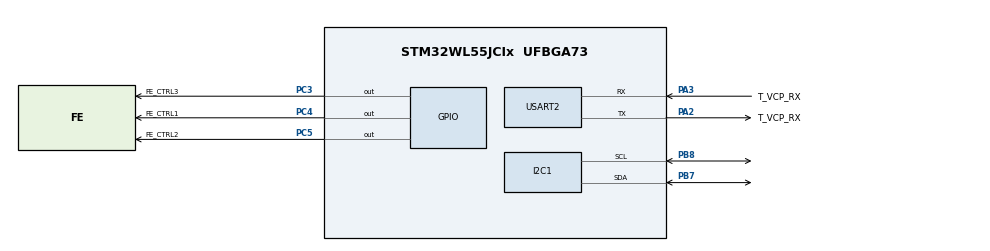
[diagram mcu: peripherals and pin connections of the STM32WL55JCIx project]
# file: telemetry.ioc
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I2C1.Timing=0x00100D14
Mcu.Family=STM32WL
Mcu.Name=STM32WL55JCIx
Mcu.Package=UFBGA73
NUCLEO-WL55JC1.BUTTON=1
NUCLEO-WL55JC1.BUTTON2=1
NUCLEO-WL55JC1.BUTTON3=1
NUCLEO-WL55JC1.LD1=true
NUCLEO-WL55JC1.LD2=true
NUCLEO-WL55JC1.LD3=true
NVIC.I2C1_ER_IRQn=true\:0\:0\:false\:false\:true\:true\:true\:true
NVIC.I2C1_EV_IRQn=true\:0\:0\:false\:false\:true\:true\:true\:true
NVIC.PriorityGroup=NVIC_PRIORITYGROUP_4
NVIC.SUBGHZ_Radio_IRQn=true\:0\:0\:false\:false\:true\:true\:true\:true
PA2.GPIO_Label=T_VCP_RX
PA2.Mode=Asynchronous
PA2.Signal=USART2_TX
PA3.GPIO_Label=T_VCP_RX
PA3.Mode=Asynchronous
PA3.Signal=USART2_RX
PB7.Mode=I2C
PB7.Signal=I2C1_SDA
PB8.Mode=I2C
PB8.Signal=I2C1_SCL
PC14-OSC32_IN.GPIO_Label=RCC_OSC32_IN
PC14-OSC32_IN.Signal=RCC_OSC32_IN
PC15-OSC32_OUT.GPIO_Label=RCC_OSC32_OUT
PC15-OSC32_OUT.Signal=RCC_OSC32_OUT
PC3.GPIO_Label=FE_CTRL3
PC3.GPIO_Speed=GPIO_SPEED_FREQ_VERY_HIGH
PC3.Signal=GPIO_Output
PC4.GPIO_Label=FE_CTRL1
PC4.GPIO_Speed=GPIO_SPEED_FREQ_VERY_HIGH
PC4.Signal=GPIO_Output
PC5.GPIO_Label=FE_CTRL2
PC5.GPIO_Speed=GPIO_SPEED_FREQ_VERY_HIGH
PC5.Signal=GPIO_Output
ProjectManager.HeapSize=0x200
ProjectManager.StackSize=0x400
ProjectManager.TargetToolchain=STM32CubeIDE
RCC.HSE_VALUE=32000000
RCC.HSI_VALUE=16000000
RCC.LSE_VALUE=32768
RCC.VCOOutputFreq_Value=32000000
SUBGHZ.BaudratePrescaler=SUBGHZSPI_BAUDRATEPRESCALER_4
USART2.VirtualMode-Asynchronous=VM_ASYNC
VP_NUCLEO-WL55JC1_VS_BSP_COMMON.Mode=COMMON
VP_SUBGHZ_VS_SUBGHZ.Mode=SUBGHZ_Activate
board=NUCLEO-WL55JC1

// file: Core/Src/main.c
/* USER CODE BEGIN Header */
/**
  ******************************************************************************
  * @file           : main.c
  * @brief          : Main program body
  ******************************************************************************
  * @attention
  *
  * Copyright (c) 2025 STMicroelectronics.
  * All rights reserved.
  *
  * This software is licensed under terms that can be found in the LICENSE file
  * in the root directory of this software component.
  * If no LICENSE file comes with this software, it is provided AS-IS.
  *
  ******************************************************************************
  */
/* USER CODE END Header */
#include "main.h"
#include "i2c.h"
#include "subghz.h"
#include "usart.h"
#include "gpio.h"

/* USER CODE BEGIN PV */

volatile bool tx_done, tx_timeout, rx_done, rx_error, rx_timeout;
uint8_t lora_buff[STD_BUFFER_SIZE];
bool i2c_enabled, enable_lora_tx, enable_lora_rx, rng_mode;

/* USER CODE END PV */

void SystemClock_Config(void);
/* USER CODE BEGIN PFP */

int __io_putchar(int ch);
int _write(int file, char *ptr, int len);
void RadioOnDioIrq(RadioIrqMasks_t radioIrq);
void radioInit(void);

/* USER CODE END PFP */

int main(void)
{

  /* MCU Configuration--------------------------------------------------------*/

  /* Reset of all peripherals, Initializes the Flash interface and the Systick. */
  HAL_Init();

  /* Configure the system clock */
  SystemClock_Config();

  /* USER CODE BEGIN SysInit */

  GPIO_InitTypeDef GPIO_InitStruct = {0};

  // Enable GPIO Clocks
  __HAL_RCC_GPIOA_CLK_ENABLE();
  __HAL_RCC_GPIOB_CLK_ENABLE();

  // DEBUG_SUBGHZSPI_{NSSOUT, SCKOUT, MSIOOUT, MOSIOUT} pins
  GPIO_InitStruct.Pin = GPIO_PIN_4 | GPIO_PIN_5 | GPIO_PIN_6 | GPIO_PIN_7;
  GPIO_InitStruct.Mode = GPIO_MODE_AF_PP;
  GPIO_InitStruct.Pull = GPIO_NOPULL;
  GPIO_InitStruct.Speed = GPIO_SPEED_FREQ_VERY_HIGH;
  GPIO_InitStruct.Alternate = GPIO_AF13_DEBUG_SUBGHZSPI;
  HAL_GPIO_Init(GPIOA, &GPIO_InitStruct);

  // DEBUG_RF_{HSE32RDY, NRESET} pins
  GPIO_InitStruct.Pin = GPIO_PIN_10 | GPIO_PIN_11;
  GPIO_InitStruct.Alternate = GPIO_AF13_DEBUG_RF;
  HAL_GPIO_Init(GPIOA, &GPIO_InitStruct);

  // DEBUG_RF_{SMPSRDY, LDORDY} pins
  GPIO_InitStruct.Pin = GPIO_PIN_2 | GPIO_PIN_4;
  HAL_GPIO_Init(GPIOB, &GPIO_InitStruct);

  // RF_BUSY pin
  GPIO_InitStruct.Pin = GPIO_PIN_12;
  GPIO_InitStruct.Alternate = GPIO_AF6_RF_BUSY;
  HAL_GPIO_Init(GPIOA, &GPIO_InitStruct);

  // RF_{IRQ0, IRQ1, IRQ2} pins
  GPIO_InitStruct.Pin = GPIO_PIN_3 | GPIO_PIN_5 | GPIO_PIN_8;
  HAL_GPIO_Init(GPIOB, &GPIO_InitStruct);

  /* USER CODE END SysInit */

  /* Initialize all configured peripherals */
  MX_GPIO_Init();
  MX_I2C1_Init();
  MX_SUBGHZ_Init();
  MX_USART2_UART_Init();
  /* USER CODE BEGIN 2 */

  radioInit();

  /* USER CODE END 2 */

  /* Initialize leds */
  BSP_LED_Init(LED_BLUE);
  BSP_LED_Init(LED_GREEN);
  BSP_LED_Init(LED_RED);

  /* Initialize USER push-button, will be used to trigger an interrupt each time it's pressed.*/
  BSP_PB_Init(BUTTON_SW1, BUTTON_MODE_EXTI);
  BSP_PB_Init(BUTTON_SW2, BUTTON_MODE_EXTI);
  BSP_PB_Init(BUTTON_SW3, BUTTON_MODE_EXTI);

  /* Infinite loop */
  /* USER CODE BEGIN WHILE */

  SUBGRF_SetDioIrqParams(IRQ_TX_DONE | IRQ_RX_DONE | IRQ_RX_TX_TIMEOUT | IRQ_CRC_ERROR,
                         IRQ_TX_DONE | IRQ_RX_DONE | IRQ_RX_TX_TIMEOUT | IRQ_CRC_ERROR,
                         IRQ_RADIO_NONE,
                         IRQ_RADIO_NONE);

  i2c_enabled = true;
  enable_lora_tx = true;
  enable_lora_rx = false;
  rng_mode = false;

  if(i2c_enabled) {
	  HAL_I2C_Slave_Receive_IT(&hi2c1, i2c_buff, STD_BUFFER_SIZE);
  }

  printf("\rTELEMETRIA NUCLEO V1.1 (2025)\n\r");

  while (1)
  {

    if (enable_lora_tx) {

    	if(i2c_enabled) {
    		memcpy(lora_buff, i2c_buff, STD_BUFFER_SIZE);
    	}

    	if(rng_mode) {
    		lora_buff[0] = 0x01;
    		for(uint8_t i = 1; i < STD_BUFFER_SIZE; i++){
    			lora_buff[i] = random() % 0xFF;
    		}
    	}

	    tx_done = false;
	    tx_timeout = false;

	    SUBGRF_SetSwitch(RFO_LP, RFSWITCH_TX);
	    SUBGRF_SendPayload(lora_buff, sizeof(lora_buff), 0);

	    while (!tx_done && !tx_timeout) {
	    }

	    if (tx_done) {

		  printf("\r\nlora_buff: ");
		  for (int i = 0; i < sizeof(lora_buff); i++) {
			  printf("%02X ", lora_buff[i]);
		  }

		  BSP_LED_Off(LED_RED);
		  BSP_LED_Toggle(LED_GREEN);

	    } else if (tx_timeout) {
		  BSP_LED_Toggle(LED_RED);
	    }
    } else if (enable_lora_rx) {

    	rx_done = rx_timeout = rx_error = false;
        SUBGRF_SetSwitch(RFO_LP, RFSWITCH_RX);
    	SUBGRF_SetRx(3000 << 6);
    	while (!rx_done && !rx_timeout && !rx_error);

    	if (rx_done)
		{
    	  uint8_t rx_size;
		  SUBGRF_GetPayload(lora_buff, &rx_size, 0xFF);
		  printf("\r\nlora_buff: ");
		  for (int i = 0; i < sizeof(lora_buff); i++) {
			  printf("%02X ", lora_buff[i]);
		  }
		  BSP_LED_Off(LED_RED);
		  BSP_LED_Toggle(LED_GREEN);
		} else {
		  BSP_LED_Off(LED_GREEN);
		  BSP_LED_Toggle(LED_RED);
		}
    }

    HAL_Delay(SLEEP_TIME);

    /* USER CODE END WHILE */

  }
}

void SystemClock_Config(void)
{
  RCC_OscInitTypeDef RCC_OscInitStruct = {0};
  RCC_ClkInitTypeDef RCC_ClkInitStruct = {0};

  /** Configure the main internal regulator output voltage
  */
  __HAL_PWR_VOLTAGESCALING_CONFIG(PWR_REGULATOR_VOLTAGE_SCALE2);

  /** Initializes the CPU, AHB and APB buses clocks
  */
  RCC_OscInitStruct.OscillatorType = RCC_OSCILLATORTYPE_MSI;
  RCC_OscInitStruct.MSIState = RCC_MSI_ON;
  RCC_OscInitStruct.MSICalibrationValue = RCC_MSICALIBRATION_DEFAULT;
  RCC_OscInitStruct.MSIClockRange = RCC_MSIRANGE_6;
  RCC_OscInitStruct.PLL.PLLState = RCC_PLL_NONE;
  if (HAL_RCC_OscConfig(&RCC_OscInitStruct) != HAL_OK)
  {
    Error_Handler();
  }

  /** Configure the SYSCLKSource, HCLK, PCLK1 and PCLK2 clocks dividers
  */
  RCC_ClkInitStruct.ClockType = RCC_CLOCKTYPE_HCLK3|RCC_CLOCKTYPE_HCLK
                              |RCC_CLOCKTYPE_SYSCLK|RCC_CLOCKTYPE_PCLK1
                              |RCC_CLOCKTYPE_PCLK2;
  RCC_ClkInitStruct.SYSCLKSource = RCC_SYSCLKSOURCE_MSI;
  RCC_ClkInitStruct.AHBCLKDivider = RCC_SYSCLK_DIV1;
  RCC_ClkInitStruct.APB1CLKDivider = RCC_HCLK_DIV1;
  RCC_ClkInitStruct.APB2CLKDivider = RCC_HCLK_DIV1;
  RCC_ClkInitStruct.AHBCLK3Divider = RCC_SYSCLK_DIV1;

  if (HAL_RCC_ClockConfig(&RCC_ClkInitStruct, FLASH_LATENCY_0) != HAL_OK)
  {
    Error_Handler();
  }
}

/* USER CODE BEGIN 4 */

/* @brief Redireciona um caracter para escrita no monitor serial, via UART2
 * @param ch Caracter
 * @retval Caracter escrito
 */
int __io_putchar(int ch) {
    HAL_UART_Transmit(&huart2, (uint8_t*)&ch, 1, HAL_MAX_DELAY);
    return ch;
}

/* @brief Redireciona um ponteiro oara vetor de caracteres
 * @param file Stream de destino
 * @param ptr Ponteiro para o vetor de caracteres
 * @param len Comprimento do vetor de caracteres
 * @retval Tamanho do vetor de caracteres redirecionado
 */
int _write(int file, char *ptr, int len) {
    HAL_UART_Transmit(&huart2, (uint8_t*)ptr, len, HAL_MAX_DELAY);
    return len;
}

/**
  * @brief  Initialize the Sub-GHz radio and dependent hardware.
  * @retval None
  */
void radioInit(void)
{
  SUBGRF_Init(RadioOnDioIrq);

  SUBGRF_SetBufferBaseAddress(0x00, 0x00);

  SUBGRF_SetRfFrequency(RF_FREQUENCY);
  SUBGRF_SetRfTxPower(TX_OUTPUT_POWER);

  SUBGRF_SetPacketType(PACKET_TYPE_LORA);

  ModulationParams_t modParams = {
    .PacketType = PACKET_TYPE_LORA,
    .Params.LoRa = {
      .Bandwidth           = LORA_BW_125,
      .CodingRate          = LORA_CR_4_5,
      .SpreadingFactor     = LORA_SF7,
      .LowDatarateOptimize = 0
    }
  };
  SUBGRF_SetModulationParams(&modParams);

  PacketParams_t pktParams = {
    .PacketType = PACKET_TYPE_LORA,
    .Params.LoRa = {
      .CrcMode        = LORA_CRC_ON,
      .HeaderType     = LORA_PACKET_VARIABLE_LENGTH,
      .InvertIQ       = LORA_IQ_NORMAL,
      .PayloadLength  = STD_BUFFER_SIZE,
      .PreambleLength = LORA_PREAMBLE_LENGTH
    }
  };
  SUBGRF_SetPacketParams(&pktParams);
}

/**
  * @brief  Receive data trough SUBGHZSPI peripheral
  * @param  radioIrq  interrupt pending status information
  * @retval None
  */
void RadioOnDioIrq(RadioIrqMasks_t irq)
{
  if(irq == IRQ_TX_DONE)        tx_done    = true;
  else if(irq == IRQ_RX_TX_TIMEOUT) { tx_timeout = true; rx_timeout = true; }
  else if (irq == IRQ_RX_DONE) rx_done = true;
  else if (irq == IRQ_CRC_ERROR) rx_error = true;
}

/* USER CODE END 4 */

void Error_Handler(void)
{
  __disable_irq();
  while (1)
  {
  }
}
